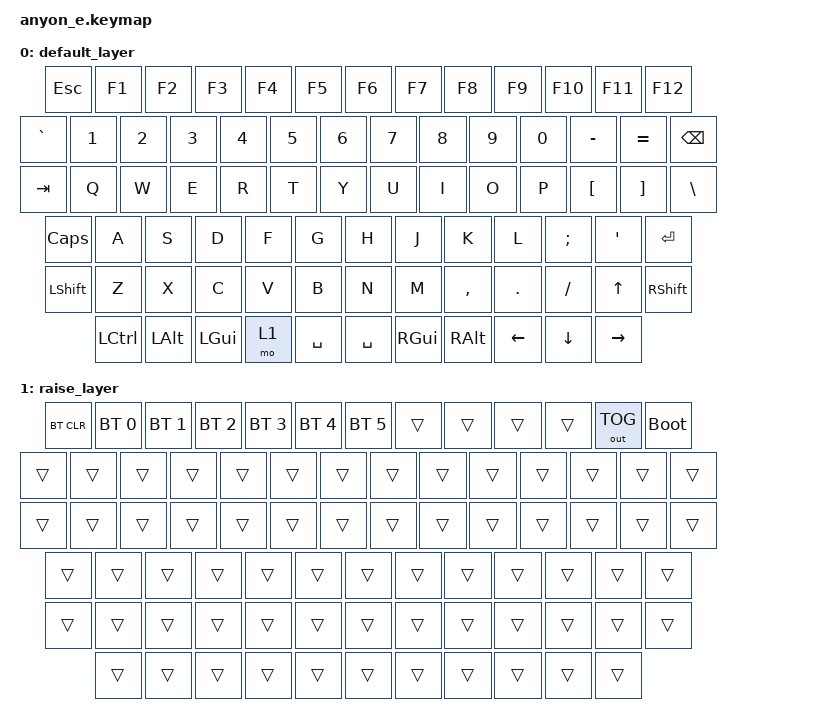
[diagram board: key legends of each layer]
#include <behaviors.dtsi>
#include <dt-bindings/zmk/keys.h>
#include <dt-bindings/zmk/bt.h>
#include <dt-bindings/zmk/outputs.h>

/ {
    keymap {
        compatible = "zmk,keymap";
        default_layer {
            bindings = <
                &kp ESC &kp F1 &kp F2 &kp F3 &kp F4 &kp F5 &kp F6 &kp F7 &kp  F8   &kp  F9 &kp  F10  &kp F11  &kp F12
                &kp GRAVE &kp N1 &kp N2 &kp N3 &kp N4 &kp N5 &kp N6 &kp N7 &kp  N8   &kp  N9 &kp  N0  &kp MINUS &kp EQUAL &kp BSPC
                &kp TAB  &kp Q  &kp W  &kp E  &kp R  &kp T  &kp Y  &kp U  &kp  I    &kp  O  &kp  P   &kp LBKT &kp RBKT  &kp BSLH
                &kp CLCK  &kp A  &kp S  &kp D  &kp F  &kp G  &kp H  &kp J  &kp  K    &kp  L  &kp SEMI &kp SQT           &kp RET
                &kp LSHFT  &kp Z  &kp X  &kp C  &kp V  &kp B  &kp N  &kp M  &kp COMMA &kp DOT &kp FSLH   &kp UP    &kp RSHFT
                &kp LCTRL &kp LALT &kp LGUI &mo 1 &kp SPACE    &kp SPACE             &kp RGUI  &kp RALT &kp LEFT &kp DOWN &kp RIGHT
            >;
        };
        raise_layer {
            bindings = <
                &bt BT_CLR &bt BT_SEL 0 &bt BT_SEL 1 &bt BT_SEL 2 &bt BT_SEL 3 &bt BT_SEL 4 &bt BT_SEL 5 &trans &trans &trans &trans &out OUT_TOG  &bootloader
                &trans &trans  &trans  &trans &trans  &trans  &trans  &trans  &trans   &trans &trans    &trans  &trans &trans
                &trans  &trans   &trans   &trans  &trans   &trans   &trans   &trans   &trans   &trans &trans     &trans  &trans  &trans
                &trans  &trans   &trans   &trans  &trans   &trans   &trans   &trans   &trans   &trans &trans  &trans            &trans
                &trans  &trans   &trans   &trans  &trans   &trans   &trans   &trans   &trans &trans &trans    &trans    &trans
                &trans &trans  &trans  &trans &trans     &trans              &trans   &trans  &trans &trans  &trans
            >;
        };
    };
};
